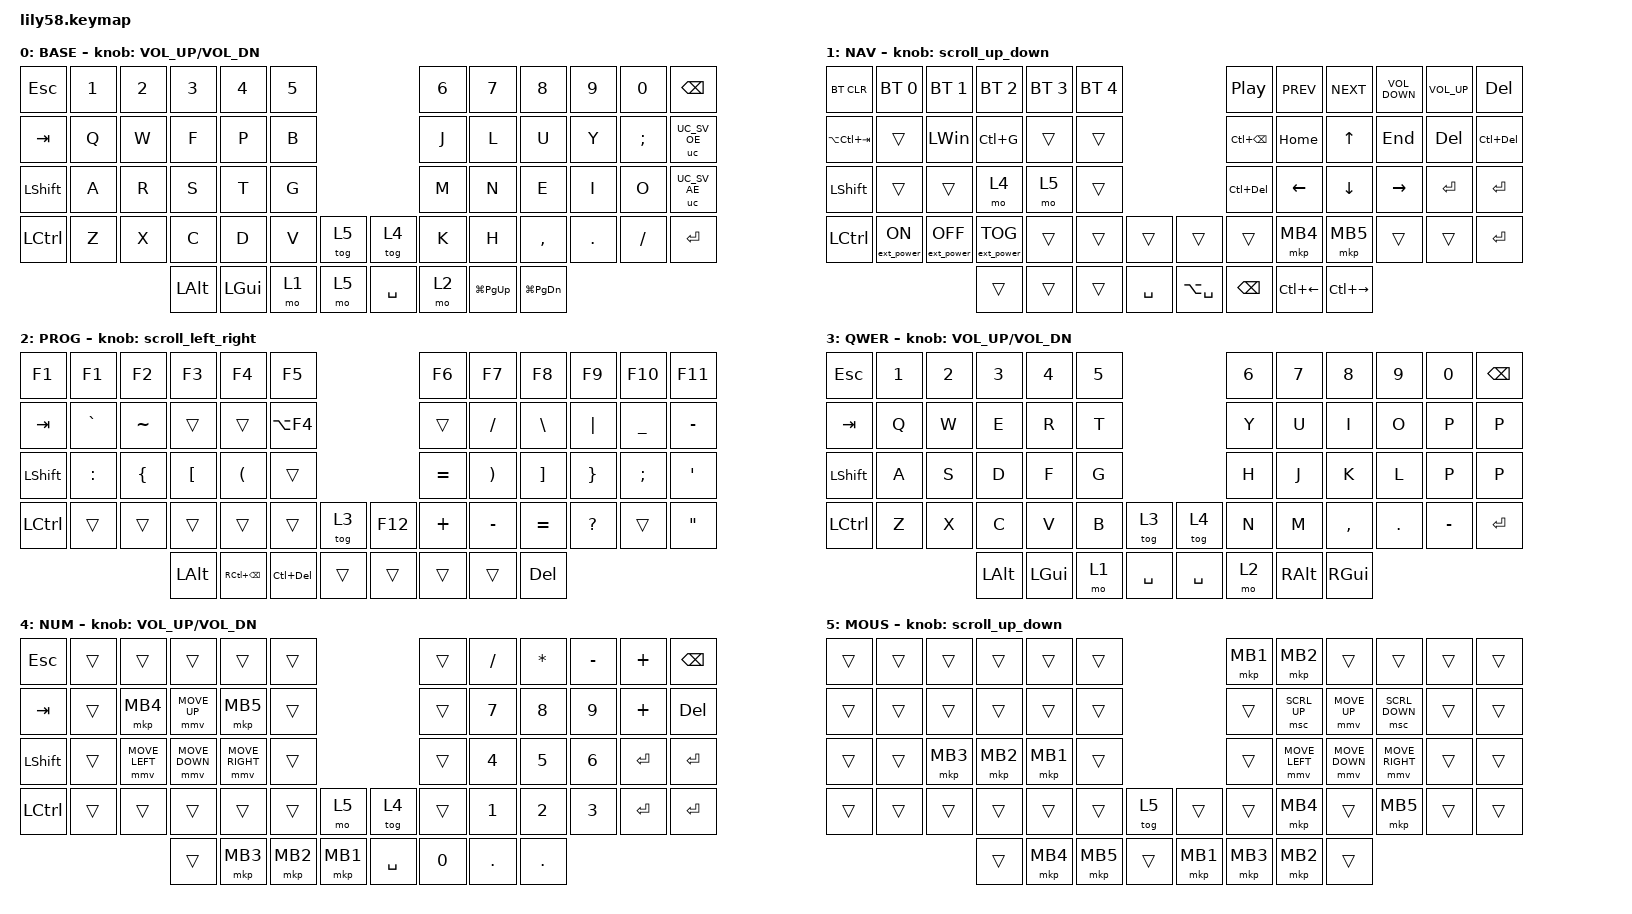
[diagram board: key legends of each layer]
/*
 * Copyright (c) 2020 The ZMK Contributors
 *
 * SPDX-License-Identifier: MIT
 */

#include <behaviors.dtsi>
#include <dt-bindings/zmk/bt.h>
#include <dt-bindings/zmk/ext_power.h>
#include <dt-bindings/zmk/keys.h>
#include <dt-bindings/zmk/pointing.h>
#include <zmk-helpers/helper.h>
#include <zmk-helpers/key-labels/34.h>
#include <behaviors/unicode.dtsi>  // zmk-unicode, default mode: WinCompose

#define ZMK_POINTING_DEFAULT_SCRL_VAL 100
#define ZMK_POINTING_DEFAULT_MOVE_VAL 2400  // default: 600

&mmv {
    acceleration-exponent = <1>;          // 1
    time-to-max-speed-ms = <500>;         // 300
    delay-ms = <0>;                       // 0
};

&msc {
    time-to-max-speed-ms = <300>;
    acceleration-exponent = <0>;
    delay-ms = <0>; 
};

/ {
    behaviors {
        // Encoder to Mouse Scroll

        scroll_up_down: Mouse_Scroller {
            label = "Scroller As Mouse Wheel";
            compatible = "zmk,behavior-sensor-rotate";
            #sensor-binding-cells = <0>;
            bindings = <&msc SCRL_DOWN>, <&msc SCRL_UP>;

            tap-ms = <20>;
        };

        scroll_left_right: Mouse_Scroller_HZ {
            label = "Scroller As Mouse Wheel Horizontal";
            compatible = "zmk,behavior-sensor-rotate";
            #sensor-binding-cells = <0>;
            bindings = <&msc SCRL_LEFT>, <&msc SCRL_RIGHT>;

            tap-ms = <20>;
        };
    };

    keymap {
        compatible = "zmk,keymap";

        base {
            display-name = "BASE";
            // ------------------------------------------------------------------------------------------------------------
            // |  ESC  |  1  |  2  |  3   |  4   |  5   |                   |  6   |  7    |  8    |  9   |   0   |   `   |
            // |  TAB  |  Q  |  W  |  E   |  R   |  T   |                   |  Y   |  U    |  I    |  O   |   P   |   -   |
            // |  CTRL |  A  |  S  |  D   |  F   |  G   |                   |  H   |  J    |  K    |  L   |   ;   |   '   |
            // | SHIFT |  Z  |  X  |  C   |  V   |  B   |   "["  |  |  "]"  |  N   |  M    |  ,    |  .   |   /   | SHIFT |
            //                     | ALT  | GUI  | LOWER|  SPACE |  | ENTER | RAISE| BSPC  | GUI   |

            bindings = <
&kp ESC           &kp N1     &kp N2     &kp N3     &kp N4     &kp N5                          &kp N6     &kp N7         &kp N8      &kp N9         &kp N0         &kp BACKSPACE
&kp TAB           &kp Q      &kp W      &kp F      &kp P      &kp B                           &kp J      &kp L          &kp U       &kp Y          &kp SEMICOLON  &uc UC_SV_OE
&kp LEFT_SHIFT    &kp A      &kp R      &kp S      &kp T      &kp G                           &kp M      &kp N          &kp E       &kp I          &kp O          &uc UC_SV_AE
&kp LEFT_CONTROL  &kp Z      &kp X      &kp C      &kp D      &kp V      &tog 5    &tog 4     &kp K      &kp H          &kp COMMA   &kp PERIOD     &kp SLASH      &kp ENTER
                                        &kp LALT   &kp LGUI   &mo 1      &mo 5     &kp SPACE  &mo 2      &kp LG(PG_UP)  &kp LG(PG_DN)
            >;

            sensor-bindings = <&inc_dec_kp C_VOL_UP C_VOL_DN>;
        };

        navigation {
            display-name = "NAV";
            // ------------------------------------------------------------------------------------------------------------
            // | BTCLR | BT1 | BT2 |  BT3 |  BT4 |  BT5 |                   |      |       |       |      |       |       |
            // |  F1   |  F2 |  F3 |  F4  |  F5  |  F6  |                   |  F7  |  F8   |  F9   |  F10 |  F11  |  F12  |
            // |   `   |  !  |  @  |  #   |  $   |  %   |                   |  ^   |  &    |  *    |  (   |   )   |   ~   |
            // |       |     |     |      |      |      |        |  |       |      |  _    |  +    |  {   |   }   |  "|"  |
            //                     |      |      |      |        |  |       |      |       |       |

            bindings = <
&bt BT_CLR       &bt BT_SEL 0      &bt BT_SEL 1       &bt BT_SEL 2       &bt BT_SEL 3  &bt BT_SEL 4                              &kp C_PLAY_PAUSE   &kp C_PREV    &kp C_NEXT     &kp C_VOLUME_DOWN  &kp C_VOLUME_UP  &kp DELETE
&kp LA(LC(TAB))  &trans            &kp LEFT_WIN       &kp LC(G)          &trans        &trans                                    &kp LC(BACKSPACE)  &kp HOME      &kp UP_ARROW   &kp END            &kp DELETE       &kp LC(DELETE)
&kp LSHIFT       &trans            &trans             &mo 4              &mo 5         &trans                                    &kp LC(DELETE)     &kp LEFT      &kp DOWN       &kp RIGHT          &kp ENTER        &kp ENTER
&kp LCTRL        &ext_power EP_ON  &ext_power EP_OFF  &ext_power EP_TOG  &trans        &trans        &trans       &trans         &trans             &mkp MB4      &mkp MB5       &trans             &trans           &kp ENTER
                                                      &trans             &trans        &trans        &kp SPACE    &kp LA(SPACE)  &kp BACKSPACE      &kp LC(LEFT)  &kp LC(RIGHT)
            >;

            sensor-bindings = <&scroll_up_down>;
        };

        programming {
            display-name = "PROG";
            // ------------------------------------------------------------------------------------------------------------
            // |       |     |     |      |      |      |                   |      |       |       |      |       |       |
            // |   `   |  1  |  2  |  3   |  4   |  5   |                   |  6   |   7   |   8   |  9   |   0   |       |
            // |   F1  |  F2 |  F3 |  F4  |  F5  |  F6  |                   |      |   <-  |   v   |  ^   |  ->   |       |
            // |   F7  |  F8 |  F9 |  F10 |  F11 |  F12 |        |  |       |  +   |   -   |   =   |  [   |   ]   |   \   |
            //                     |      |      |      |        |  |       |      |       |       |

            bindings = <
&kp F1          &kp F1        &kp F2             &kp F3               &kp F4                   &kp F5                             &kp F6        &kp F7                    &kp F8                &kp F9              &kp F10           &kp F11
&kp TAB         &kp GRAVE     &kp TILDE          &trans               &trans                   &kp LA(F4)                         &trans        &kp SLASH                 &kp BACKSLASH         &kp PIPE            &kp UNDER         &kp MINUS
&kp LEFT_SHIFT  &kp COLON     &kp LEFT_BRACE     &kp LEFT_BRACKET     &kp LEFT_PARENTHESIS     &trans                             &kp EQUAL     &kp RIGHT_PARENTHESIS     &kp RIGHT_BRACKET     &kp RIGHT_BRACE     &kp SEMICOLON     &kp SQT
&kp LCTRL       &trans        &trans             &trans               &trans                   &trans          &tog 3    &kp F12  &kp PLUS      &kp MINUS                 &kp EQUAL             &kp QUESTION        &trans            &kp DOUBLE_QUOTES
                                                 &kp LEFT_ALT         &kp RC(BACKSPACE)        &kp LC(DELETE)  &trans    &trans   &trans        &trans                    &kp DELETE
            >;

            sensor-bindings = <&scroll_left_right>;
        };

        qwerty {
            display-name = "QWER";
            bindings = <
&kp ESC    &kp N1  &kp N2  &kp N3    &kp N4    &kp N5                          &kp N6  &kp N7    &kp N8     &kp N9   &kp N0     &kp BSPC
&kp TAB    &kp Q   &kp W   &kp E     &kp R     &kp T                           &kp Y   &kp U     &kp I      &kp O    &kp P      &kp P
&kp LSHFT  &kp A   &kp S   &kp D     &kp F     &kp G                           &kp H   &kp J     &kp K      &kp L    &kp P      &kp P
&kp LCTRL  &kp Z   &kp X   &kp C     &kp V     &kp B   &tog 3       &tog 4     &kp N   &kp M     &kp COMMA  &kp DOT  &kp MINUS  &kp ENTER
                           &kp LALT  &kp LGUI  &mo 1   &kp SPACE    &kp SPACE  &mo 2   &kp RALT  &kp RGUI
            >;

            sensor-bindings = <&inc_dec_kp C_VOL_UP C_VOL_DN>;
        };

        numpad {
            display-name = "NUM";
            bindings = <
&kp ESC    &trans  &trans          &trans          &trans           &trans                           &trans  &kp SLASH  &kp ASTERISK  &kp MINUS  &kp PLUS   &kp BSPC
&kp TAB    &trans  &mkp MB4        &mmv MOVE_UP    &mkp MB5         &trans                           &trans  &kp N7     &kp N8        &kp N9     &kp PLUS   &kp DEL
&kp LSHFT  &trans  &mmv MOVE_LEFT  &mmv MOVE_DOWN  &mmv MOVE_RIGHT  &trans                           &trans  &kp N4     &kp N5        &kp N6     &kp ENTER  &kp ENTER
&kp LCTRL  &trans  &trans          &trans          &trans           &trans    &mo 5       &tog 4     &trans  &kp N1     &kp N2        &kp N3     &kp ENTER  &kp ENTER
                                   &trans          &mkp MB3         &mkp MB2  &mkp MB1    &kp SPACE  &kp N0  &kp DOT    &kp DOT
            >;

            sensor-bindings = <&inc_dec_kp C_VOL_UP C_VOL_DN>;
        };

        mousing {
            display-name = "MOUS";
            bindings = <
&trans  &trans  &trans    &trans    &trans    &trans                        &mkp MB1  &mkp MB2        &trans          &trans           &trans  &trans
&trans  &trans  &trans    &trans    &trans    &trans                        &trans    &msc SCRL_UP    &mmv MOVE_UP    &msc SCRL_DOWN   &trans  &trans
&trans  &trans  &mkp MB3  &mkp MB2  &mkp MB1  &trans                        &trans    &mmv MOVE_LEFT  &mmv MOVE_DOWN  &mmv MOVE_RIGHT  &trans  &trans
&trans  &trans  &trans    &trans    &trans    &trans    &tog 5    &trans    &trans    &mkp MB4        &trans          &mkp MB5         &trans  &trans
                          &trans    &mkp MB4  &mkp MB5  &trans    &mkp MB1  &mkp MB3  &mkp MB2        &trans
            >;

            sensor-bindings = <&scroll_up_down>;
        };
    };
};
